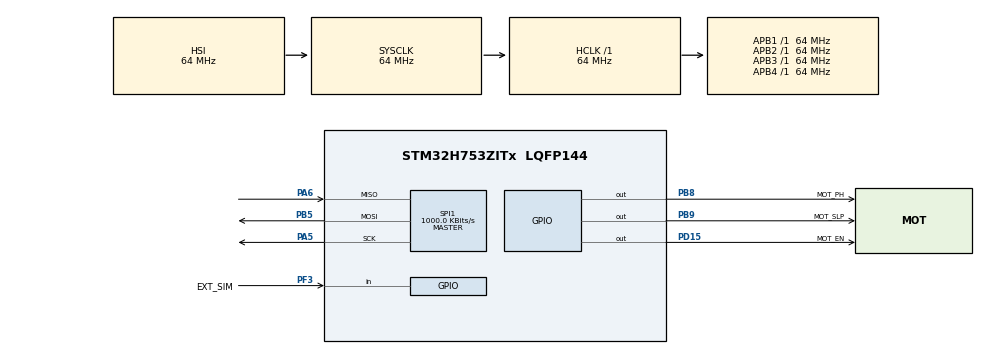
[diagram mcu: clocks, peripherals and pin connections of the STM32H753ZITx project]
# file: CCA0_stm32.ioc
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CORTEX_M7.CPU_DCache=Disabled
CORTEX_M7.CPU_ICache=Disabled
CORTEX_M7.MPU_Control=MPU_PRIVILEGED_DEFAULT
CORTEX_M7.default_mode_Activation=1
Mcu.Family=STM32H7
Mcu.Name=STM32H753ZITx
Mcu.Package=LQFP144
NUCLEO-H753ZI.BUTTON=1
NUCLEO-H753ZI.LD1=true
NUCLEO-H753ZI.LD2=true
NUCLEO-H753ZI.LD3=true
NUCLEO-H753ZI.VCP=true
NVIC.EXTI15_10_IRQn=true\:0\:0\:false\:false\:true\:false\:true\:true
NVIC.PriorityGroup=NVIC_PRIORITYGROUP_4
PA5.Mode=Full_Duplex_Master
PA5.Signal=SPI1_SCK
PA6.Mode=Full_Duplex_Master
PA6.Signal=SPI1_MISO
PB5.Mode=Full_Duplex_Master
PB5.Signal=SPI1_MOSI
PB8.GPIO_Label=MOT_PH
PB8.Signal=GPIO_Output
PB9.GPIO_Label=MOT_SLP
PB9.Signal=GPIO_Output
PC14-OSC32_IN\ (OSC32_IN).Signal=RCC_OSC32_IN
PC15-OSC32_OUT\ (OSC32_OUT).Signal=RCC_OSC32_OUT
PD15.GPIO_Label=MOT_EN
PD15.Signal=GPIO_Output
PD8.Signal=USART3_TX
PD9.Signal=USART3_RX
PF3.GPIO_Label=EXT_SIM
PF3.GPIO_PuPd=GPIO_PULLUP
PF3.Signal=GPIO_Input
PH0-OSC_IN\ (PH0).Signal=RCC_OSC_IN
PH1-OSC_OUT\ (PH1).Signal=RCC_OSC_OUT
ProjectManager.HeapSize=0x200
ProjectManager.StackSize=0x400
ProjectManager.TargetToolchain=STM32CubeIDE
RCC.ADCFreq_Value=129000000
RCC.APB1Freq_Value=64000000
RCC.APB2Freq_Value=64000000
RCC.APB3Freq_Value=64000000
RCC.APB4Freq_Value=64000000
RCC.CortexFreq_Value=64000000
RCC.DIVM1=4
RCC.DIVN1=9
RCC.DIVQ1=1
RCC.HCLKFreq_Value=64000000
RCC.HSE_VALUE=8000000
RCC.PLLFRACN=3072
RCC.PWR_Regulator_Voltage_Scale=PWR_REGULATOR_VOLTAGE_SCALE2
RCC.SPI123CLockSelection=RCC_SPI123CLKSOURCE_CLKP
RCC.SYSCLKFreq_VALUE=64000000
RCC.USBFreq_Value=150000000
SPI1.BaudRatePrescaler=SPI_BAUDRATEPRESCALER_64
SPI1.CLKPhase=SPI_PHASE_2EDGE
SPI1.CalculateBaudRate=1000.0 KBits/s
SPI1.DataSize=SPI_DATASIZE_8BIT
SPI1.Direction=SPI_DIRECTION_2LINES
SPI1.Mode=SPI_MODE_MASTER
SPI1.VirtualType=VM_MASTER
VP_MEMORYMAP_VS_MEMORYMAP.Mode=CurAppReg
VP_NUCLEO-H753ZI_VS_BSP_COMMON.Mode=COMMON
board=NUCLEO-H753ZI

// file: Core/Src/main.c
/* USER CODE BEGIN Header */
/**
  ******************************************************************************
  * @file           : main.c
  * @brief          : Main program body
  ******************************************************************************
  * @attention
  *
  * Copyright (c) 2026 STMicroelectronics.
  * All rights reserved.
  *
  * This software is licensed under terms that can be found in the LICENSE file
  * in the root directory of this software component.
  * If no LICENSE file comes with this software, it is provided AS-IS.
  *
  ******************************************************************************
  */
/* USER CODE END Header */
#include "main.h"

/* USER CODE BEGIN Includes */
#include "test_runner.h"
#include "envelope.h"
#include "intent.h"
#include "calibration.h"
#include <math.h>
/* USER CODE END Includes */

COM_InitTypeDef BspCOMInit;

SPI_HandleTypeDef hspi1;

/* USER CODE BEGIN PV */
volatile uint8_t  button_flag  = 0;
volatile uint32_t button_count = 0;
struct envelope_t flex_env;
struct envelope_t ext_env;
intent_context    intent;
/* USER CODE END PV */

void SystemClock_Config(void);
void PeriphCommonClock_Config(void);
static void MPU_Config(void);
static void MX_GPIO_Init(void);
static void MX_SPI1_Init(void);
/* USER CODE BEGIN PFP */
static void show_state(hand_state s);
static void motor_apply(hand_state s);
/* USER CODE END PFP */

int main(void)
{

  /* MPU Configuration--------------------------------------------------------*/
  MPU_Config();

  /* MCU Configuration--------------------------------------------------------*/

  /* Reset of all peripherals, Initializes the Flash interface and the Systick. */
  HAL_Init();

  /* Configure the system clock */
  SystemClock_Config();

  /* Configure the peripherals common clocks */
  PeriphCommonClock_Config();

  /* Initialize all configured peripherals */
  MX_GPIO_Init();
  MX_SPI1_Init();

  /* Initialize leds */
  BSP_LED_Init(LED_GREEN);
  BSP_LED_Init(LED_YELLOW);
  BSP_LED_Init(LED_RED);

  /* Initialize USER push-button, will be used to trigger an interrupt each time it's pressed.*/
  BSP_PB_Init(BUTTON_USER, BUTTON_MODE_EXTI);

  /* Initialize COM1 port (115200, 8 bits (7-bit data + 1 stop bit), no parity */
  BspCOMInit.BaudRate   = 115200;
  BspCOMInit.WordLength = COM_WORDLENGTH_8B;
  BspCOMInit.StopBits   = COM_STOPBITS_1;
  BspCOMInit.Parity     = COM_PARITY_NONE;
  BspCOMInit.HwFlowCtl  = COM_HWCONTROL_NONE;
  if (BSP_COM_Init(COM1, &BspCOMInit) != BSP_ERROR_NONE)
  {
    Error_Handler();
  }

  /* Infinite loop */
  /* USER CODE BEGIN WHILE */
  printf("CCA0 booted\r\n");
  run_all_tests();

  envelope_init(&flex_env, 1000.0f, 20.0f, 100);
  envelope_init(&ext_env,  1000.0f, 20.0f, 100);
  intent_init(&intent);

  calibration flex_cal = { .baseline = 30, .mcv = 600 };
  calibration ext_cal  = { .baseline = 30, .mcv = 600 };
  if (intent_configure(&intent, &flex_cal, &ext_cal, 0.30f, 0.15f, 100) != 0) {
    printf("calibration rejected\r\n");
  }

  static const char *state_name[] = { "IDLE", "CLOSING", "HOLDING", "OPENING" };
  hand_state last_state = INTENT_IDLE;
  show_state(last_state);
  motor_apply(last_state);

  uint32_t sample_ms = HAL_GetTick();
  uint32_t n = 0;

  HAL_GPIO_WritePin(MOT_PH_GPIO_Port,  MOT_PH_Pin,  GPIO_PIN_RESET);  /* direction */
  HAL_GPIO_WritePin(MOT_SLP_GPIO_Port, MOT_SLP_Pin, GPIO_PIN_SET);    /* wake driver */

  while (1)
  {

    /* USER CODE END WHILE */

    /* USER CODE BEGIN 3 */

    uint32_t now = HAL_GetTick();

    while (sample_ms != now)            /* one pass per millisecond = 1 kHz */
    {
      sample_ms++;

      /* fake EMG: 100 Hz sine, strong while the button is held */
      float phase    = (float)(n % 10) / 10.0f;
      float wave     = sinf(2.0f * 3.14159265f * phase);
      float flex_amp = (BSP_PB_GetState(BUTTON_USER) != 0) ? 1000.0f : 30.0f;
      n++;

      int32_t flex_raw = (int32_t)(flex_amp * wave);

      /* active-low: wire to GND = extensor contracting */
      int ext_active  = (HAL_GPIO_ReadPin(EXT_SIM_GPIO_Port, EXT_SIM_Pin) == GPIO_PIN_RESET);
      float ext_amp   = ext_active ? 1000.0f : 30.0f;
      int32_t ext_raw = (int32_t)(ext_amp * wave);

      int32_t flex_e = envelope_update(&flex_env, flex_raw);
      int32_t ext_e  = envelope_update(&ext_env,  ext_raw);
      hand_state s   = intent_update(&intent, flex_e, ext_e);

      if (s != last_state)
      {
        printf("%s -> %s  (flexor envelope %ld)\r\n",
               state_name[last_state], state_name[s], (long)flex_e);
        show_state(s);
        motor_apply(s);
        last_state = s;
      }
    }
  }
  /* USER CODE END 3 */
}

void SystemClock_Config(void)
{
  RCC_OscInitTypeDef RCC_OscInitStruct = {0};
  RCC_ClkInitTypeDef RCC_ClkInitStruct = {0};

  /** Supply configuration update enable
  */
  HAL_PWREx_ConfigSupply(PWR_LDO_SUPPLY);

  /** Configure the main internal regulator output voltage
  */
  __HAL_PWR_VOLTAGESCALING_CONFIG(PWR_REGULATOR_VOLTAGE_SCALE2);

  while(!__HAL_PWR_GET_FLAG(PWR_FLAG_VOSRDY)) {}

  /** Initializes the RCC Oscillators according to the specified parameters
  * in the RCC_OscInitTypeDef structure.
  */
  RCC_OscInitStruct.OscillatorType = RCC_OSCILLATORTYPE_HSI;
  RCC_OscInitStruct.HSIState = RCC_HSI_DIV1;
  RCC_OscInitStruct.HSICalibrationValue = RCC_HSICALIBRATION_DEFAULT;
  RCC_OscInitStruct.PLL.PLLState = RCC_PLL_NONE;
  if (HAL_RCC_OscConfig(&RCC_OscInitStruct) != HAL_OK)
  {
    Error_Handler();
  }

  /** Initializes the CPU, AHB and APB buses clocks
  */
  RCC_ClkInitStruct.ClockType = RCC_CLOCKTYPE_HCLK|RCC_CLOCKTYPE_SYSCLK
                              |RCC_CLOCKTYPE_PCLK1|RCC_CLOCKTYPE_PCLK2
                              |RCC_CLOCKTYPE_D3PCLK1|RCC_CLOCKTYPE_D1PCLK1;
  RCC_ClkInitStruct.SYSCLKSource = RCC_SYSCLKSOURCE_HSI;
  RCC_ClkInitStruct.SYSCLKDivider = RCC_SYSCLK_DIV1;
  RCC_ClkInitStruct.AHBCLKDivider = RCC_HCLK_DIV1;
  RCC_ClkInitStruct.APB3CLKDivider = RCC_APB3_DIV1;
  RCC_ClkInitStruct.APB1CLKDivider = RCC_APB1_DIV1;
  RCC_ClkInitStruct.APB2CLKDivider = RCC_APB2_DIV1;
  RCC_ClkInitStruct.APB4CLKDivider = RCC_APB4_DIV1;

  if (HAL_RCC_ClockConfig(&RCC_ClkInitStruct, FLASH_LATENCY_1) != HAL_OK)
  {
    Error_Handler();
  }
}

void PeriphCommonClock_Config(void)
{
  RCC_PeriphCLKInitTypeDef PeriphClkInitStruct = {0};

  /** Initializes the peripherals clock
  */
  PeriphClkInitStruct.PeriphClockSelection = RCC_PERIPHCLK_CKPER;
  PeriphClkInitStruct.CkperClockSelection = RCC_CLKPSOURCE_HSI;
  if (HAL_RCCEx_PeriphCLKConfig(&PeriphClkInitStruct) != HAL_OK)
  {
    Error_Handler();
  }
}

static void MX_SPI1_Init(void)
{

  /* SPI1 parameter configuration*/
  hspi1.Instance = SPI1;
  hspi1.Init.Mode = SPI_MODE_MASTER;
  hspi1.Init.Direction = SPI_DIRECTION_2LINES;
  hspi1.Init.DataSize = SPI_DATASIZE_8BIT;
  hspi1.Init.CLKPolarity = SPI_POLARITY_LOW;
  hspi1.Init.CLKPhase = SPI_PHASE_2EDGE;
  hspi1.Init.NSS = SPI_NSS_SOFT;
  hspi1.Init.BaudRatePrescaler = SPI_BAUDRATEPRESCALER_64;
  hspi1.Init.FirstBit = SPI_FIRSTBIT_MSB;
  hspi1.Init.TIMode = SPI_TIMODE_DISABLE;
  hspi1.Init.CRCCalculation = SPI_CRCCALCULATION_DISABLE;
  hspi1.Init.CRCPolynomial = 0x0;
  hspi1.Init.NSSPMode = SPI_NSS_PULSE_ENABLE;
  hspi1.Init.NSSPolarity = SPI_NSS_POLARITY_LOW;
  hspi1.Init.FifoThreshold = SPI_FIFO_THRESHOLD_01DATA;
  hspi1.Init.TxCRCInitializationPattern = SPI_CRC_INITIALIZATION_ALL_ZERO_PATTERN;
  hspi1.Init.RxCRCInitializationPattern = SPI_CRC_INITIALIZATION_ALL_ZERO_PATTERN;
  hspi1.Init.MasterSSIdleness = SPI_MASTER_SS_IDLENESS_00CYCLE;
  hspi1.Init.MasterInterDataIdleness = SPI_MASTER_INTERDATA_IDLENESS_00CYCLE;
  hspi1.Init.MasterReceiverAutoSusp = SPI_MASTER_RX_AUTOSUSP_DISABLE;
  hspi1.Init.MasterKeepIOState = SPI_MASTER_KEEP_IO_STATE_DISABLE;
  hspi1.Init.IOSwap = SPI_IO_SWAP_DISABLE;
  if (HAL_SPI_Init(&hspi1) != HAL_OK)
  {
    Error_Handler();
  }

}

static void MX_GPIO_Init(void)
{
  GPIO_InitTypeDef GPIO_InitStruct = {0};

  /* GPIO Ports Clock Enable */
  __HAL_RCC_GPIOC_CLK_ENABLE();
  __HAL_RCC_GPIOF_CLK_ENABLE();
  __HAL_RCC_GPIOH_CLK_ENABLE();
  __HAL_RCC_GPIOA_CLK_ENABLE();
  __HAL_RCC_GPIOD_CLK_ENABLE();
  __HAL_RCC_GPIOB_CLK_ENABLE();

  /*Configure GPIO pin Output Level */
  HAL_GPIO_WritePin(MOT_EN_GPIO_Port, MOT_EN_Pin, GPIO_PIN_RESET);

  /*Configure GPIO pin Output Level */
  HAL_GPIO_WritePin(GPIOB, MOT_PH_Pin|MOT_SLP_Pin, GPIO_PIN_RESET);

  /*Configure GPIO pin : EXT_SIM_Pin */
  GPIO_InitStruct.Pin = EXT_SIM_Pin;
  GPIO_InitStruct.Mode = GPIO_MODE_INPUT;
  GPIO_InitStruct.Pull = GPIO_PULLUP;
  HAL_GPIO_Init(EXT_SIM_GPIO_Port, &GPIO_InitStruct);

  /*Configure GPIO pin : MOT_EN_Pin */
  GPIO_InitStruct.Pin = MOT_EN_Pin;
  GPIO_InitStruct.Mode = GPIO_MODE_OUTPUT_PP;
  GPIO_InitStruct.Pull = GPIO_NOPULL;
  GPIO_InitStruct.Speed = GPIO_SPEED_FREQ_LOW;
  HAL_GPIO_Init(MOT_EN_GPIO_Port, &GPIO_InitStruct);

  /*Configure GPIO pins : MOT_PH_Pin MOT_SLP_Pin */
  GPIO_InitStruct.Pin = MOT_PH_Pin|MOT_SLP_Pin;
  GPIO_InitStruct.Mode = GPIO_MODE_OUTPUT_PP;
  GPIO_InitStruct.Pull = GPIO_NOPULL;
  GPIO_InitStruct.Speed = GPIO_SPEED_FREQ_LOW;
  HAL_GPIO_Init(GPIOB, &GPIO_InitStruct);

}

/* USER CODE BEGIN 4 */
void BSP_PB_Callback(Button_TypeDef Button)
{
  static uint32_t last = 0;
  uint32_t now = HAL_GetTick();
  if (Button == BUTTON_USER && (now - last) > 50)
  {
    last = now;
    button_flag = 1;
    button_count++;
  }
}
static void show_state(hand_state s)
{
  BSP_LED_Off(LED_GREEN);
  BSP_LED_Off(LED_YELLOW);
  BSP_LED_Off(LED_RED);

  if      (s == INTENT_CLOSING) BSP_LED_On(LED_YELLOW);
  else if (s == INTENT_HOLDING) BSP_LED_On(LED_RED);
  else if (s == INTENT_OPENING) BSP_LED_On(LED_GREEN);
}
static void motor_apply(hand_state s)
{
  if (s == INTENT_CLOSING) {
    HAL_GPIO_WritePin(MOT_PH_GPIO_Port, MOT_PH_Pin, GPIO_PIN_RESET);  /* close direction */
    HAL_GPIO_WritePin(MOT_EN_GPIO_Port, MOT_EN_Pin, GPIO_PIN_SET);
  } else if (s == INTENT_OPENING) {
    HAL_GPIO_WritePin(MOT_PH_GPIO_Port, MOT_PH_Pin, GPIO_PIN_SET);    /* open direction */
    HAL_GPIO_WritePin(MOT_EN_GPIO_Port, MOT_EN_Pin, GPIO_PIN_SET);
  } else {
    HAL_GPIO_WritePin(MOT_EN_GPIO_Port, MOT_EN_Pin, GPIO_PIN_RESET);  /* IDLE / HOLDING: stop */
  }
}
/* USER CODE END 4 */

 /* MPU Configuration */

void MPU_Config(void)
{
  MPU_Region_InitTypeDef MPU_InitStruct = {0};

  /* Disables the MPU */
  HAL_MPU_Disable();

  /** Initializes and configures the Region and the memory to be protected
  */
  MPU_InitStruct.Enable = MPU_REGION_ENABLE;
  MPU_InitStruct.Number = MPU_REGION_NUMBER0;
  MPU_InitStruct.BaseAddress = 0x0;
  MPU_InitStruct.Size = MPU_REGION_SIZE_4GB;
  MPU_InitStruct.SubRegionDisable = 0x87;
  MPU_InitStruct.TypeExtField = MPU_TEX_LEVEL0;
  MPU_InitStruct.AccessPermission = MPU_REGION_NO_ACCESS;
  MPU_InitStruct.DisableExec = MPU_INSTRUCTION_ACCESS_DISABLE;
  MPU_InitStruct.IsShareable = MPU_ACCESS_SHAREABLE;
  MPU_InitStruct.IsCacheable = MPU_ACCESS_NOT_CACHEABLE;
  MPU_InitStruct.IsBufferable = MPU_ACCESS_NOT_BUFFERABLE;

  HAL_MPU_ConfigRegion(&MPU_InitStruct);
  /* Enables the MPU */
  HAL_MPU_Enable(MPU_PRIVILEGED_DEFAULT);

}

void Error_Handler(void)
{
  __disable_irq();
  while (1)
  {
  }
}
